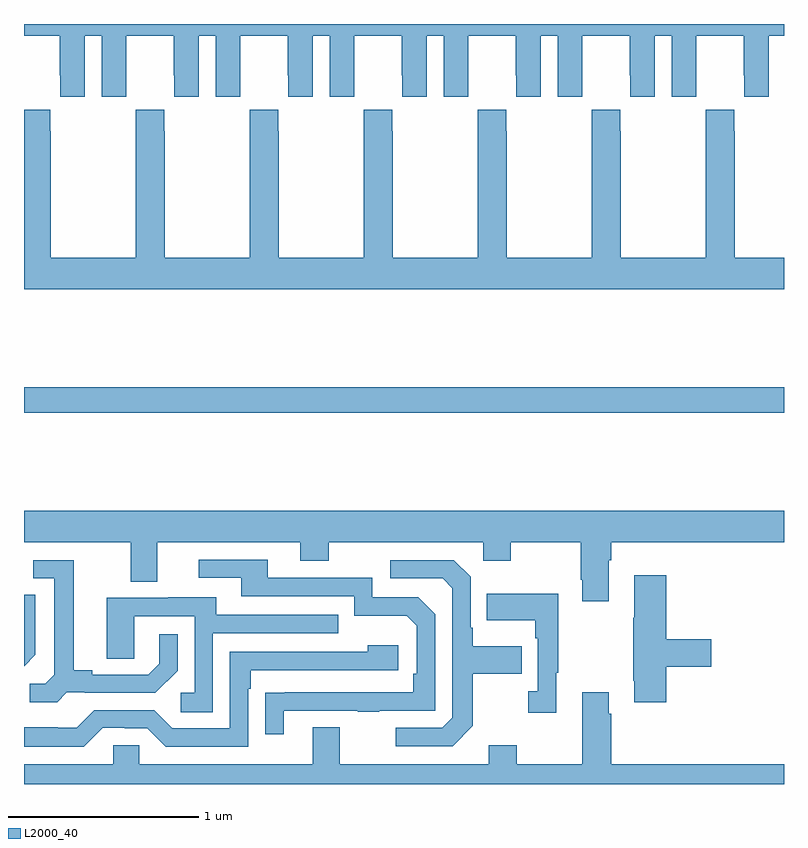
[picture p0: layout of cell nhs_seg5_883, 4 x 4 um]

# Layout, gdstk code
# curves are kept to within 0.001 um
import gdstk
lib = gdstk.Library(unit=1e-6, precision=1e-09)
def R(c, l, rs):  # rectangles x0, y0, x1, y1
    for r in rs: c.add(gdstk.rectangle(r[:2], r[2:], *l))
def P(c, l, *ps):  # polygons
    for p in ps: c.add(gdstk.Polygon(p, *l))
L2000_40 = (2000, 40)

nhs_seg5_883 = lib.new_cell('nhs_seg5_883')
R(nhs_seg5_883, L2000_40, [(167,878.752,171,878.888)])
P(nhs_seg5_883, L2000_40, [(167,880.736),(167.189,880.736),(167.189,880.528),(167.19,880.528),(167.19,880.416),(167.32,880.416),(167.32,880.736),(167.408,880.736),(167.408,880.416),(167.538,880.416),(167.538,880.528),(167.539,880.528),(167.539,880.736),(167.789,880.736),(167.789,880.528),(167.79,880.528),(167.79,880.416),(167.92,880.416),(167.92,880.736),(168.008,880.736),(168.008,880.416),(168.138,880.416),(168.138,880.528),(168.139,880.528),(168.139,880.736),(168.389,880.736),(168.389,880.528),(168.39,880.528),(168.39,880.416),(168.52,880.416),(168.52,880.736),(168.608,880.736),(168.608,880.416),(168.738,880.416),(168.738,880.528),(168.739,880.528),(168.739,880.736),(168.989,880.736),(168.989,880.528),(168.99,880.528),(168.99,880.416),(169.12,880.416),(169.12,880.736),(169.208,880.736),(169.208,880.416),(169.338,880.416),(169.338,880.528),(169.339,880.528),(169.339,880.736),(169.589,880.736),(169.589,880.528),(169.59,880.528),(169.59,880.416),(169.72,880.416),(169.72,880.736),(169.808,880.736),(169.808,880.416),(169.938,880.416),(169.938,880.528),(169.939,880.528),(169.939,880.736),(170.189,880.736),(170.189,880.528),(170.19,880.528),(170.19,880.416),(170.32,880.416),(170.32,880.736),(170.408,880.736),(170.408,880.416),(170.538,880.416),(170.538,880.528),(170.539,880.528),(170.539,880.736),(170.789,880.736),(170.789,880.528),(170.79,880.528),(170.79,880.416),(170.92,880.416),(170.92,880.736),(171,880.736),(171,880.799),(167,880.799)],
  [(171,879.568),(170.742,879.568),(170.742,880.235),(170.739,880.235),(170.739,880.348),(170.589,880.348),(170.589,880.235),(170.587,880.235),(170.587,879.568),(170.142,879.568),(170.142,880.235),(170.139,880.235),(170.139,880.348),(169.989,880.348),(169.989,880.235),(169.987,880.235),(169.987,879.568),(169.542,879.568),(169.542,880.235),(169.539,880.235),(169.539,880.348),(169.389,880.348),(169.389,880.235),(169.387,880.235),(169.387,879.568),(168.942,879.568),(168.942,880.235),(168.939,880.235),(168.939,880.348),(168.789,880.348),(168.789,880.235),(168.787,880.235),(168.787,879.568),(168.342,879.568),(168.342,880.235),(168.339,880.235),(168.339,880.348),(168.189,880.348),(168.189,880.235),(168.187,880.235),(168.187,879.568),(167.742,879.568),(167.742,880.235),(167.739,880.235),(167.739,880.348),(167.589,880.348),(167.589,880.235),(167.587,880.235),(167.587,879.568),(167.142,879.568),(167.142,880.235),(167.139,880.235),(167.139,880.348),(167,880.348),(167,879.404),(171,879.404)],
  [(170.077,877.976),(170.09,877.976),(170.09,878.072),(171,878.072),(171,878.236),(167,878.236),(167,878.072),(167.561,878.072),(167.561,877.864),(167.701,877.864),(167.701,878.072),(168.455,878.072),(168.455,877.973),(168.603,877.973),(168.603,878.072),(169.416,878.072),(169.416,877.973),(169.563,877.973),(169.563,878.072),(169.93,878.072),(169.93,877.873),(169.937,877.873),(169.937,877.761),(170.077,877.761)],
  [(168.367,877.185),(168.757,877.185),(168.757,877.18),(168.869,877.18),(168.869,877.185),(169.164,877.185),(169.164,877.692),(169.074,877.782),(168.834,877.782),(168.834,877.884),(168.283,877.884),(168.283,877.98),(167.919,877.98),(167.919,877.884),(168.143,877.884),(168.143,877.788),(168.738,877.788),(168.738,877.685),(169.015,877.685),(169.068,877.632),(169.068,877.378),(169.048,877.378),(169.048,877.281),(168.271,877.28),(168.271,877.062),(168.367,877.062)],
  [(169.363,877.105),(169.363,877.378),(169.619,877.378),(169.619,877.525),(169.363,877.525),(169.363,877.621),(169.35,877.621),(169.35,877.89),(169.263,877.977),(168.927,877.977),(168.927,877.881),(169.203,877.881),(169.254,877.83),(169.254,877.149),(169.2,877.095),(168.957,877.095),(168.957,876.999),(169.257,876.999)],
  [(167.226,877.281),(167.32,877.281),(167.32,877.278),(167.692,877.278),(167.808,877.394),(167.808,877.588),(167.711,877.588),(167.711,877.431),(167.654,877.374),(167.359,877.374),(167.359,877.397),(167.263,877.397),(167.263,877.977),(167.049,877.977),(167.049,877.881),(167.159,877.881),(167.159,877.373),(167.112,877.326),(167.031,877.326),(167.031,877.229),(167.174,877.229)],
  [(170.381,877.415),(170.617,877.415),(170.617,877.562),(170.381,877.562),(170.381,877.897),(170.213,877.897),(170.213,877.673),(170.206,877.673),(170.206,877.342),(170.213,877.342),(170.213,877.23),(170.381,877.23)],
  [(169.801,877.385),(169.813,877.385),(169.813,877.801),(169.435,877.801),(169.435,877.661),(169.692,877.661),(169.692,877.565),(169.704,877.565),(169.704,877.286),(169.653,877.286),(169.653,877.173),(169.801,877.173)],
  [(167.058,877.478),(167.058,877.796),(167,877.796),(167,877.42)],
  [(167.994,877.593),(168.653,877.593),(168.653,877.689),(168.013,877.689),(168.013,877.783),(167.759,877.783),(167.759,877.779),(167.435,877.779),(167.435,877.459),(167.58,877.459),(167.58,877.683),(167.898,877.683),(167.898,877.278),(167.826,877.278),(167.826,877.177),(167.994,877.177)],
  [(167.415,877.095),(167.531,877.095),(167.531,877.092),(167.649,877.092),(167.745,876.996),(168.18,876.996),(168.18,877.301),(168.193,877.301),(168.193,877.398),(168.97,877.398),(168.97,877.528),(168.809,877.528),(168.809,877.494),(168.084,877.494),(168.084,877.092),(167.781,877.092),(167.685,877.188),(167.37,877.188),(167.277,877.095),(167.177,877.095),(167.177,877.099),(167,877.099),(167,876.995),(167.315,876.995)],
  [(171,876.904),(170.09,876.904),(170.09,877.169),(170.077,877.169),(170.077,877.282),(169.937,877.282),(169.937,876.904),(169.593,876.904),(169.593,877.003),(169.445,877.003),(169.445,876.904),(168.661,876.904),(168.661,877.099),(168.521,877.099),(168.521,876.904),(167.607,876.904),(167.607,877.002),(167.469,877.002),(167.469,876.904),(167,876.904),(167,876.799),(171,876.799)])

lib.write_gds('nhs_seg5_883.gds')
